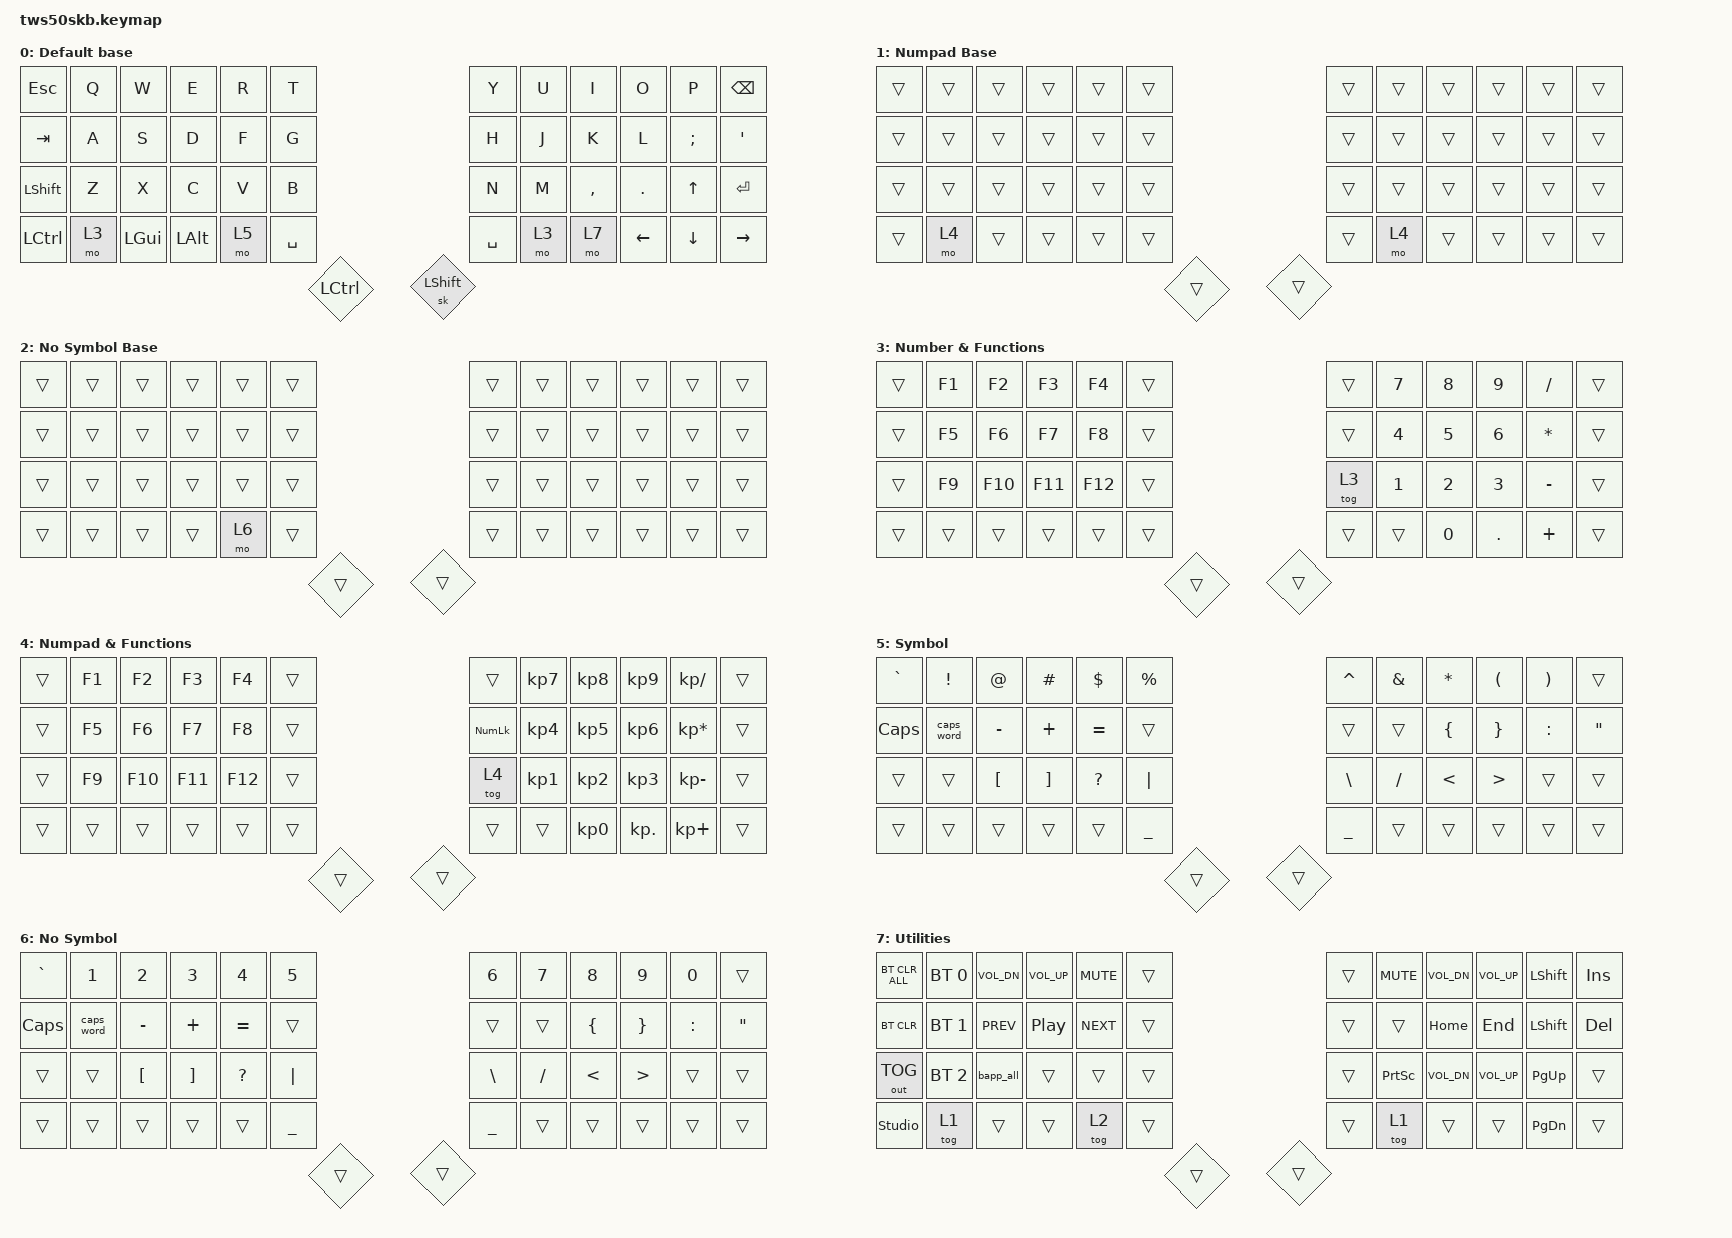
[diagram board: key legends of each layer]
#include <behaviors.dtsi>
#include <dt-bindings/zmk/keys.h>
#include <dt-bindings/zmk/bt.h>
#include <dt-bindings/zmk/modifiers.h>
#include <dt-bindings/zmk/outputs.h>
#include <behaviors/battery_percentage_printer.dtsi>

&sk {
    release-after-ms = <2000>;
    quick-release;
    ignore-modifiers;
};

/ {
    keymap {
        compatible = "zmk,keymap";

        // 0
        base_default_layer {
            display-name = "Default base";
            bindings = <
            //  1           2           3           4           5           6           7           8           9           10          11          12          13          14
                &kp ESC     &kp Q       &kp W       &kp E       &kp R       &kp T                               &kp Y       &kp U       &kp I       &kp O       &kp P       &kp BSPC
                &kp TAB     &kp A       &kp S       &kp D       &kp F       &kp G                               &kp H       &kp J       &kp K       &kp L       &kp SEMI    &kp SQT
                &kp LSHFT   &kp Z       &kp X       &kp C       &kp V       &kp B                               &kp N       &kp M       &kp COMMA   &kp DOT     &kp UP      &kp RET
                &kp LCTRL   &mo 3       &kp LGUI    &kp LALT    &mo 5       &kp SPACE   &kp LCTRL   &sk LSHFT   &kp SPACE   &mo 3       &mo 7       &kp LEFT    &kp DOWN    &kp RIGHT
            >;
        };

        // 1
        base_numpad {
            display-name = "Numpad Base";
            bindings = <
            //  1           2           3           4           5           6           7           8           9           10          11          12          13          14
                &trans      &trans      &trans      &trans      &trans      &trans                              &trans      &trans      &trans      &trans      &trans      &trans
                &trans      &trans      &trans      &trans      &trans      &trans                              &trans      &trans      &trans      &trans      &trans      &trans
                &trans      &trans      &trans      &trans      &trans      &trans                              &trans      &trans      &trans      &trans      &trans      &trans
                &trans      &mo 4       &trans      &trans      &trans      &trans      &trans      &trans      &trans      &mo 4       &trans      &trans      &trans      &trans
            >;
        };

        // 2
        base_no_symbol {
            display-name = "No Symbol Base";
            bindings = <
            //  1           2           3           4           5           6           7           8           9           10          11          12          13          14
                &trans      &trans      &trans      &trans      &trans      &trans                              &trans      &trans      &trans      &trans      &trans      &trans
                &trans      &trans      &trans      &trans      &trans      &trans                              &trans      &trans      &trans      &trans      &trans      &trans
                &trans      &trans      &trans      &trans      &trans      &trans                              &trans      &trans      &trans      &trans      &trans      &trans
                &trans      &trans      &trans      &trans      &mo 6       &trans      &trans      &trans      &trans      &trans      &trans      &trans      &trans      &trans
            >;
        };

        // 3: NUM FN
        num_fn_layer {
            display-name = "Number & Functions";
            bindings = <
            //  1           2           3           4           5           6           7           8           9           10          11          12          13          14
                &trans      &kp F1      &kp F2      &kp F3      &kp F4      &trans                              &trans      &kp N7      &kp N8      &kp N9      &kp SLASH   &trans
                &trans      &kp F5      &kp F6      &kp F7      &kp F8      &trans                              &trans      &kp N4      &kp N5      &kp N6      &kp ASTRK   &trans
                &trans      &kp F9      &kp F10     &kp F11     &kp F12     &trans                              &tog 3      &kp N1      &kp N2      &kp N3      &kp MINUS   &trans
                &trans      &trans      &trans      &trans      &trans      &trans      &trans      &trans      &trans      &trans      &kp N0      &kp DOT     &kp PLUS    &trans
            >;
        };

        // 4: NUMPAD
        numpad_fn_layer {
            display-name = "Numpad & Functions";
            bindings = <
            //  1           2           3           4           5           6           7           8           9           10          11          12          13              14
                &trans      &kp F1      &kp F2      &kp F3      &kp F4      &trans                              &trans      &kp KP_N7   &kp KP_N8   &kp KP_N9   &kp KP_SLASH    &trans
                &trans      &kp F5      &kp F6      &kp F7      &kp F8      &trans                              &kp KP_NUM  &kp KP_N4   &kp KP_N5   &kp KP_N6   &kp KP_ASTERISK &trans
                &trans      &kp F9      &kp F10     &kp F11     &kp F12     &trans                              &tog 4      &kp KP_N1   &kp KP_N2   &kp KP_N3   &kp KP_MINUS    &trans
                &trans      &trans      &trans      &trans      &trans      &trans      &trans      &trans      &trans      &trans      &kp KP_N0   &kp KP_DOT  &kp KP_PLUS     &trans
            >;
        };

        // 5: SYMBOL
        symbol_layer {
            display-name = "Symbol";
            bindings = <
            //  1           2           3           4           5           6           7           8           9           10          11          12          13          14
                &kp GRAVE   &kp EXCL    &kp AT      &kp HASH    &kp DLLR    &kp PRCNT                           &kp CARET   &kp AMPS    &kp ASTRK   &kp LPAR    &kp RPAR    &trans
                &kp CAPS    &caps_word  &kp MINUS   &kp PLUS    &kp EQUAL   &trans                              &trans      &trans      &kp LBRC    &kp RBRC    &kp COLON   &kp DQT
                &trans      &trans      &kp LBKT    &kp RBKT    &kp QMARK   &kp PIPE                            &kp BSLH    &kp FSLH    &kp LT      &kp GT      &trans      &trans
                &trans      &trans      &trans      &trans      &trans      &kp UNDER   &trans         &trans   &kp UNDER   &trans      &trans      &trans      &trans      &trans
            >;
        };

        // 6: NUMBER
        no_symbol_layer {
            display-name = "No Symbol";
            bindings = <
            //  1           2           3           4           5           6           7           8           9           10          11          12          13          14
                &kp GRAVE   &kp N1      &kp N2      &kp N3      &kp N4      &kp N5                              &kp N6      &kp N7      &kp N8      &kp N9      &kp N0      &trans
                &kp CAPS    &caps_word  &kp MINUS   &kp PLUS    &kp EQUAL   &trans                              &trans      &trans      &kp LBRC    &kp RBRC    &kp COLON   &kp DQT
                &trans      &trans      &kp LBKT    &kp RBKT    &kp QMARK   &kp PIPE                            &kp BSLH    &kp FSLH    &kp LT      &kp GT      &trans      &trans
                &trans      &trans      &trans      &trans      &trans      &kp UNDER   &trans         &trans   &kp UNDER   &trans      &trans      &trans      &trans      &trans
            >;
        };

        // 7: UTILITY
        utility_layer {
            display-name = "Utilities";
            bindings = <
            //  1              2              3              4              5              6              7              8              9              10             11             12             13             14
                &bt BT_CLR_ALL &bt BT_SEL 0   &kp C_VOL_DN   &kp C_VOL_UP   &kp C_MUTE     &trans                                       &trans         &kp C_MUTE     &kp C_VOL_DN   &kp C_VOL_UP   &kp LSHFT      &kp INS
                &bt BT_CLR     &bt BT_SEL 1   &kp C_PREV     &kp C_PP       &kp C_NEXT     &trans                                       &trans         &trans         &kp HOME       &kp END        &kp LSHFT      &kp DEL
                &out OUT_TOG   &bt BT_SEL 2   &bapp_all      &trans         &trans         &trans                                       &trans         &kp PSCRN      &kp C_VOL_DN   &kp C_VOL_UP   &kp PG_UP      &trans
                &studio_unlock &tog 1         &trans         &trans         &tog 2         &trans         &trans         &trans         &trans         &tog 1         &trans         &trans         &kp PG_DN      &trans
            >;
        };

        extra_layer_1 {
            status = "reserved";
            bindings = <
            //  1           2           3           4           5           6           7           8           9           10          11          12          13          14
                &trans      &trans      &trans      &trans      &trans      &trans                              &trans      &trans      &trans      &trans      &trans      &trans
                &trans      &trans      &trans      &trans      &trans      &trans                              &trans      &trans      &trans      &trans      &trans      &trans
                &trans      &trans      &trans      &trans      &trans      &trans                              &trans      &trans      &trans      &trans      &trans      &trans
                &trans      &trans      &trans      &trans      &trans      &trans      &trans      &trans      &trans      &trans      &trans      &trans      &trans      &trans
            >;
        };

        extra_layer_2 {
            status = "reserved";
            bindings = <
            //  1           2           3           4           5           6           7           8           9           10          11          12          13          14
                &trans      &trans      &trans      &trans      &trans      &trans                              &trans      &trans      &trans      &trans      &trans      &trans
                &trans      &trans      &trans      &trans      &trans      &trans                              &trans      &trans      &trans      &trans      &trans      &trans
                &trans      &trans      &trans      &trans      &trans      &trans                              &trans      &trans      &trans      &trans      &trans      &trans
                &trans      &trans      &trans      &trans      &trans      &trans      &trans      &trans      &trans      &trans      &trans      &trans      &trans      &trans
            >;
        };

        extra_layer_3 {
            status = "reserved";
            bindings = <
            //  1           2           3           4           5           6           7           8           9           10          11          12          13          14
                &trans      &trans      &trans      &trans      &trans      &trans                              &trans      &trans      &trans      &trans      &trans      &trans
                &trans      &trans      &trans      &trans      &trans      &trans                              &trans      &trans      &trans      &trans      &trans      &trans
                &trans      &trans      &trans      &trans      &trans      &trans                              &trans      &trans      &trans      &trans      &trans      &trans
                &trans      &trans      &trans      &trans      &trans      &trans      &trans      &trans      &trans      &trans      &trans      &trans      &trans      &trans
            >;
        };

        extra_layer_4 {
            status = "reserved";
            bindings = <
            //  1           2           3           4           5           6           7           8           9           10          11          12          13          14
                &trans      &trans      &trans      &trans      &trans      &trans                              &trans      &trans      &trans      &trans      &trans      &trans
                &trans      &trans      &trans      &trans      &trans      &trans                              &trans      &trans      &trans      &trans      &trans      &trans
                &trans      &trans      &trans      &trans      &trans      &trans                              &trans      &trans      &trans      &trans      &trans      &trans
                &trans      &trans      &trans      &trans      &trans      &trans      &trans      &trans      &trans      &trans      &trans      &trans      &trans      &trans
            >;
        };

        extra_layer_5 {
            status = "reserved";
            bindings = <
            //  1           2           3           4           5           6           7           8           9           10          11          12          13          14
                &trans      &trans      &trans      &trans      &trans      &trans                              &trans      &trans      &trans      &trans      &trans      &trans
                &trans      &trans      &trans      &trans      &trans      &trans                              &trans      &trans      &trans      &trans      &trans      &trans
                &trans      &trans      &trans      &trans      &trans      &trans                              &trans      &trans      &trans      &trans      &trans      &trans
                &trans      &trans      &trans      &trans      &trans      &trans      &trans      &trans      &trans      &trans      &trans      &trans      &trans      &trans
            >;
        };

        extra_layer_6 {
            status = "reserved";
            bindings = <
            //  1           2           3           4           5           6           7           8           9           10          11          12          13          14
                &trans      &trans      &trans      &trans      &trans      &trans                              &trans      &trans      &trans      &trans      &trans      &trans
                &trans      &trans      &trans      &trans      &trans      &trans                              &trans      &trans      &trans      &trans      &trans      &trans
                &trans      &trans      &trans      &trans      &trans      &trans                              &trans      &trans      &trans      &trans      &trans      &trans
                &trans      &trans      &trans      &trans      &trans      &trans      &trans      &trans      &trans      &trans      &trans      &trans      &trans      &trans
            >;
        };

        extra_layer_7 {
            status = "reserved";
            bindings = <
            //  1           2           3           4           5           6           7           8           9           10          11          12          13          14
                &trans      &trans      &trans      &trans      &trans      &trans                              &trans      &trans      &trans      &trans      &trans      &trans
                &trans      &trans      &trans      &trans      &trans      &trans                              &trans      &trans      &trans      &trans      &trans      &trans
                &trans      &trans      &trans      &trans      &trans      &trans                              &trans      &trans      &trans      &trans      &trans      &trans
                &trans      &trans      &trans      &trans      &trans      &trans      &trans      &trans      &trans      &trans      &trans      &trans      &trans      &trans
            >;
        };
    };
};
